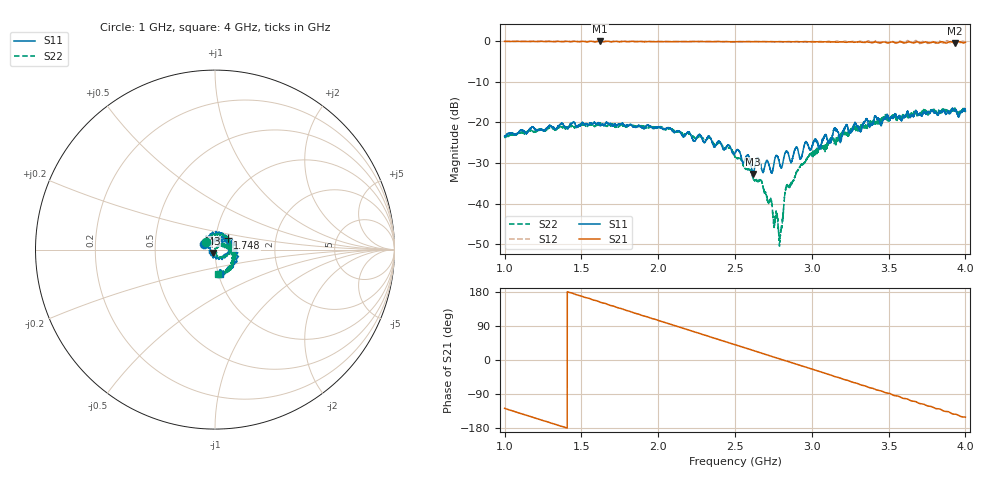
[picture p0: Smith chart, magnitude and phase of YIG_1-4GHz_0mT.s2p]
#  HZ  S  RI  R  50.0
! Rohde & Schwarz ZVL13 2Ports - Version 3.31 - 1303.6509k13 SN: 101088
! Date: 2023-03-06 14:30:44
! Data & Calibration Information:
! Trc4:S11(TOSM) Trc2:S21(TOSM) Trc3:S12(TOSM) Trc5:S22(TOSM)
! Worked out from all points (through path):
!   4000 points, 1 GHz to 4 GHz, reference 50 ohm
!   highest |S21| = -0.08 dB at 1.621 GHz (marker M1); lowest = -0.5 dB at 3.93 GHz (marker M2)
!   group delay of S21, straight-line fit = 356 ps
!   lowest |S11| = -32.7 dB at 2.616 GHz (marker M3), VSWR 1.05, Z = 48.7 - j1.85 ohm
!   |S11| at or under -10 dB: start of sweep to end of sweep
!   |S22| runs from -50.5 to -16.5 dB; largest |S21 - S12| = 0.072
!   S11 on the Smith chart (normalised r, x): 1 GHz: 0.89, +0.06; 1.748 GHz: 1.14, +0.15; 4 GHz: 1.01, -0.28
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1e9  -0.0589 0.0333  -0.6011 -0.7822  -0.6074 -0.781  -0.0507 0.0403
1.243811e9  -0.0322 0.0735  -0.923 -0.3549  -0.9225 -0.365  -0.018 0.0788
1.500375e9  0.0199 0.0944  -0.9658 0.1938  -0.9714 0.1879  0.0407 0.086
1.621155e9  0.0428 0.0793  -0.8799 0.4554  -0.8803 0.4592  0.0656 0.0738
1.747937e9  0.07 0.065  -0.7084 0.6681  -0.7171 0.6696  0.0769 0.0465
2e9  0.0867 0.00405  -0.2457 0.9515  -0.2416 0.952  0.0868 -0.00305
2.23931e9  0.0463 -0.0354  0.2726 0.9416  0.2793 0.9452  0.0528 -0.0379
2.500375e9  -0.0101 -0.0408  0.7428 0.634  0.7436 0.6306  0.0135 -0.0351
2.585146e9  -0.0191 -0.0342  0.8504 0.4836  0.8575 0.4833  0.00733 -0.0251
2.615904e9  -0.0131 -0.019  0.884 0.4227  0.8831 0.4229  0.00309 -0.021
2.647412e9  -0.03 -0.0207  0.9111 0.3591  0.916 0.3558  0.0068 -0.0176
2.672168e9  -0.0174 -0.0202  0.9302 0.306  0.9312 0.3069  -0.00358 -0.0189
2.771193e9  -0.0371 0.0111  0.97 0.0905  0.9711 0.0955  0.0072 0.000317
2.794449e9  -0.0277 0.00912  0.9744 0.0418  0.9803 0.04  -0.000599 0.00407
2.836459e9  -0.0332 0.0281  0.973 -0.0471  0.9802 -0.0445  0.0132 0.00963
2.865716e9  -0.0192 0.025  0.969 -0.1134  0.9678 -0.117  0.00585 0.0172
3e9  0.00556 0.0495  0.89 -0.3958  0.8995 -0.3975  0.0265 0.0309
3.268567e9  0.0705 0.0427  0.495 -0.8284  0.5049 -0.8466  0.0843 0.0146
3.500375e9  0.1123 -0.0032  0.0373 -0.9473  0.0313 -0.9388  0.0978 -0.0334
3.673668e9  0.1209 -0.0599  -0.3185 -0.9025  -0.3416 -0.9465  0.0931 -0.0934
3.930233e9  0.0613 -0.1239  -0.7522 -0.565  -0.7989 -0.5985  0.0426 -0.1412
4e9  0.0256 -0.1353  -0.8423 -0.4644  -0.8594 -0.418  0.0143 -0.132
